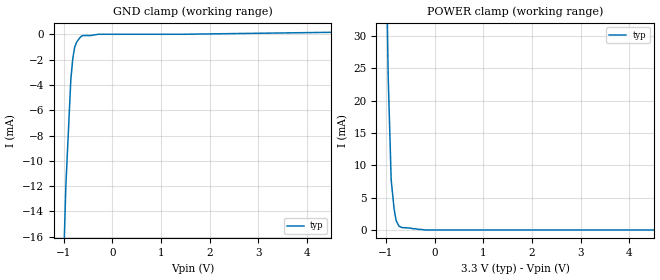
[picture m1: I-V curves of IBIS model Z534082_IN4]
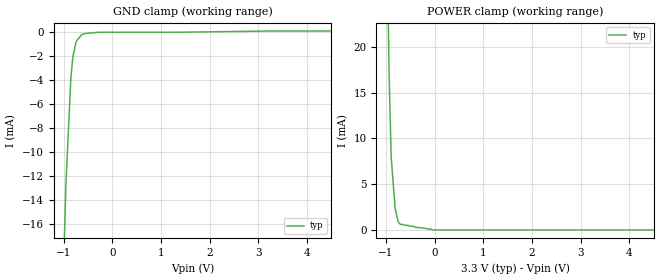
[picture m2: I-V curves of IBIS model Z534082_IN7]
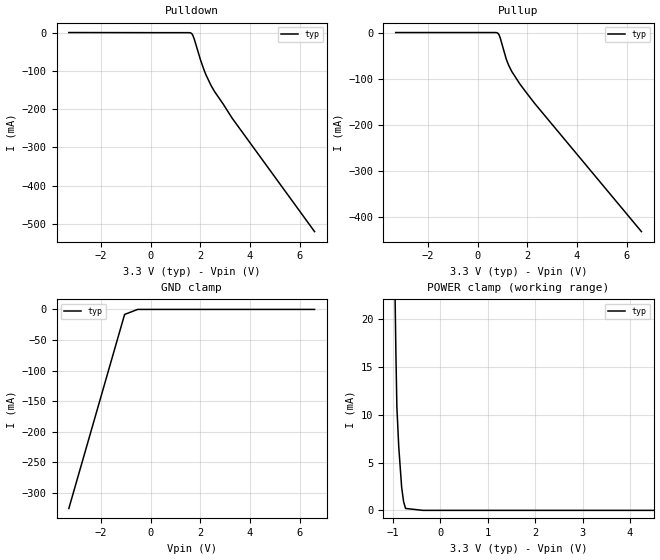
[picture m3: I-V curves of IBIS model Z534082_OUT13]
| YOU ARE ONLY AUTHORIZED TO USE THIS SOFTWARE
| ACCORDING TO LICENSOR'S LICENSE RESTRICTIONS.
[IBIS Ver] 3.1
[File Name] mc100lvel37dw_33.ibs
[File Rev] 1
[Source] Derived from mc100lvel38dw_pecl.ibs Measured and created by
ICX Technology
[Date] 2/18/2004
[Copyright]
| (C) COPYRIGHT 1993-2000
| MENTOR GRAPHICS CORPORATION
| ICX STANDARD LIBRARY, ICX PROJECT MODELING,
| ICX CUSTOM MODELING, ICX VENDOR MODEL
| ALL RIGHTS RESERVED.
| THE FOLLOWING ARE TRADEMARKS OR SERVICE MARKS OF
| MENTOR GRAPHICS CORPORATION:ICX (R), ICX STANDARD
| LIBRARY(R), ICX PROJECT MODELING(R), ICX CUSTOM
| MODELING(R), qualityIBIS(TM), MODELVIEWER(TM),
| AND MODELEDITOR(TM)
| ALL COPIES OF SOFTWARE, INCLUDING BUT NOT LIMITED TO
| ANY MODIFICATIONS, ENHANCEMENTS OR DERIVATIVE WORKS,
| MUST CONTAIN ALL MENTOR GRAPHICS CORPORATION'S
| NOTICES AND LEGENDS, INCLUDING THOSE EMBEDDED IN
| SOFTWARE AND THOSE AFFIXED TO SOFTWARE MEDIUM
| AND CONTAINER, AS RECEIVED FROM MENTOR GRAPHICS
| CORPORATION.
|  ZAP Model Builder 2.7
[Component] MC100LVEL37DW_33
[Manufacturer] OnSemiconductor
[Package]
| variable   typ   min   max
R_pkg  .178ohms NA NA
L_pkg  4.43nH NA NA
C_pkg  .62pF NA NA
[Pin] signal_name  model_name  R_pin  L_pin C_pin
1 VCC POWER .186 5.37n .68p
2 VCC POWER .186 5.37n .68p
3 CLK0 Z534082_IN4 .174 3.96n .59p
4 _CLK0 Z534082_IN4 .17 3.51n .56p
5 CLK_SEL Z534082_IN4 .174 3.96n .59p
6 CLK1 Z534082_IN4 .174 3.96n .59p
7 _CLK1 Z534082_IN4 .17 3.51n .56p
8 MR Z534082_IN7 .174 3.96n .59p
9 VEE POWER .186 5.37n .68p
10 VEE POWER .186 5.37n .68p
11 VCC POWER .186 5.37n .68p
12 _Q3 Z534082_OUT18 .182 4.89n .65p
13 Q3 Z534082_OUT13 .178 4.42n .62p
14 _Q2 Z534082_OUT18 .174 3.96n .59p
15 Q2 Z534082_OUT13 .17 3.51n .56p
16 _Q1 Z534082_OUT18 .17 3.51n .56p
17 Q1 Z534082_OUT13 .174 3.96n .59p
18 _Q0 Z534082_OUT18 .178 4.42n .62p
19 Q0 Z534082_OUT13 .182 4.89n .65p
20 VEE POWER .186 5.37n .68p
| Models and submodels in the file (4): Z534082_IN4 (Input_ECL), Z534082_IN7 (Input_ECL), Z534082_OUT13 (Output_ECL), Z534082_OUT18 (Output_ECL)
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| (C) COPYRIGHT 1993-2000
| MENTOR GRAPHICS CORPORATION
| ICX STANDARD LIBRARY, ICX PROJECT MODELING,
| ICX CUSTOM MODELING, ICX VENDOR MODEL
| ALL RIGHTS RESERVED.
| THE FOLLOWING ARE TRADEMARKS OR SERVICE MARKS OF
| MENTOR GRAPHICS CORPORATION:ICX (R), ICX STANDARD
| LIBRARY(R), ICX PROJECT MODELING(R), ICX CUSTOM
| MODELING(R), qualityIBIS(TM), MODELVIEWER(TM),
| AND MODELEDITOR(TM)
| ALL COPIES OF SOFTWARE, INCLUDING BUT NOT LIMITED TO
| ANY MODIFICATIONS, ENHANCEMENTS OR DERIVATIVE WORKS,
| MUST CONTAIN ALL MENTOR GRAPHICS CORPORATION'S
| NOTICES AND LEGENDS, INCLUDING THOSE EMBEDDED IN
| SOFTWARE AND THOSE AFFIXED TO SOFTWARE MEDIUM
| AND CONTAINER, AS RECEIVED FROM MENTOR GRAPHICS
| CORPORATION.
| Model Application Version 1.89 2/18/99.
[Model] Z534082_IN4
Model_type Input_ECL
Vinl = 2.115V
Vinh = 2.301V
C_comp 2.000pF NA NA
| variable typ   min   max
[Voltage Range] 3.300V NA NA
[GND Clamp Reference] 0.000V NA NA
[POWER Clamp Reference] 3.300V NA NA
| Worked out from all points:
|   GND clamp passes 1 mA (typ) near -0.77 V on its own axis
|   POWER clamp passes 1 mA (typ) near -0.76 V on its own axis
[GND Clamp]
-3.3V     -405.6mA   NA         NA
-1.074V   -27.8mA    NA         NA
-952mV    -11.9mA    NA         NA
-851mV    -3.6mA     NA         NA
-810mV    -1.9mA     NA         NA
-770mV    -1mA       NA         NA
-729mV    -600uA     NA         NA
-648mV    -200uA     NA         NA
-607.5mV  -100uA     NA         NA
-283.5mV  0A         NA         NA
1.449V    0A         NA         NA
6.6V      260.7uA    NA         NA
[POWER Clamp]
-3.3V     728.7mA    NA         NA
-1.037V   62.35mA    NA         NA
-956mV    23.66mA    NA         NA
-895mV    7.761mA    NA         NA
-835mV    3.264mA    NA         NA
-794mV    1.466mA    NA         NA
-733mV    569.2uA    NA         NA
-673mV    372.3uA    NA         NA
-191.3mV  0A         NA         NA
6.6V      0A         NA         NA
| (C) COPYRIGHT 1993-2000
| MENTOR GRAPHICS CORPORATION
| ICX STANDARD LIBRARY, ICX PROJECT MODELING,
| ICX CUSTOM MODELING, ICX VENDOR MODEL
| ALL RIGHTS RESERVED.
| THE FOLLOWING ARE TRADEMARKS OR SERVICE MARKS OF
| MENTOR GRAPHICS CORPORATION:ICX (R), ICX STANDARD
| LIBRARY(R), ICX PROJECT MODELING(R), ICX CUSTOM
| MODELING(R), qualityIBIS(TM), MODELVIEWER(TM),
| AND MODELEDITOR(TM)
| ALL COPIES OF SOFTWARE, INCLUDING BUT NOT LIMITED TO
| ANY MODIFICATIONS, ENHANCEMENTS OR DERIVATIVE WORKS,
| MUST CONTAIN ALL MENTOR GRAPHICS CORPORATION'S
| NOTICES AND LEGENDS, INCLUDING THOSE EMBEDDED IN
| SOFTWARE AND THOSE AFFIXED TO SOFTWARE MEDIUM
| AND CONTAINER, AS RECEIVED FROM MENTOR GRAPHICS
| CORPORATION.
| Model Application Version 1.89 2/18/99.
[Model] Z534082_IN7
Model_type Input_ECL
Vinl = 2.115V
Vinh = 2.301V
C_comp 2.000pF NA NA
| variable typ   min   max
[Voltage Range] 3.300V NA NA
[GND Clamp Reference] 0.000V NA NA
[POWER Clamp Reference] 3.300V NA NA
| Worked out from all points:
|   GND clamp passes 1 mA (typ) near -0.75 V on its own axis
|   POWER clamp passes 1 mA (typ) near -0.76 V on its own axis
[GND Clamp]
-3.3V     -464.7mA   NA         NA
-1.074V   -30.5mA    NA         NA
-952mV    -12.7mA    NA         NA
-851mV    -3.9mA     NA         NA
-810mV    -2.1mA     NA         NA
-749mV    -900uA     NA         NA
-729mV    -700uA     NA         NA
-628mV    -200uA     NA         NA
-547mV    -100uA     NA         NA
-273.5mV  0A         NA         NA
6.6V      100uA      NA         NA
[POWER Clamp]
-3.3V     753.6mA    NA         NA
-1.341V   154.1mA    NA         NA
-936mV    16.7mA     NA         NA
-895mV    8mA        NA         NA
-815mV    2.4mA      NA         NA
-754mV    900uA      NA         NA
-703mV    600uA      NA         NA
-42.5mV   0A         NA         NA
6.6V      0A         NA         NA
| (C) COPYRIGHT 1993-2000
| MENTOR GRAPHICS CORPORATION
| ICX STANDARD LIBRARY, ICX PROJECT MODELING,
| ICX CUSTOM MODELING, ICX VENDOR MODEL
| ALL RIGHTS RESERVED.
| THE FOLLOWING ARE TRADEMARKS OR SERVICE MARKS OF
| MENTOR GRAPHICS CORPORATION:ICX (R), ICX STANDARD
| LIBRARY(R), ICX PROJECT MODELING(R), ICX CUSTOM
| MODELING(R), qualityIBIS(TM), MODELVIEWER(TM),
| AND MODELEDITOR(TM)
| ALL COPIES OF SOFTWARE, INCLUDING BUT NOT LIMITED TO
| ANY MODIFICATIONS, ENHANCEMENTS OR DERIVATIVE WORKS,
| MUST CONTAIN ALL MENTOR GRAPHICS CORPORATION'S
| NOTICES AND LEGENDS, INCLUDING THOSE EMBEDDED IN
| SOFTWARE AND THOSE AFFIXED TO SOFTWARE MEDIUM
| AND CONTAINER, AS RECEIVED FROM MENTOR GRAPHICS
| CORPORATION.
| Model Application Version 1.89 2/18/99.
[Model] Z534082_OUT13
Model_type Output_ECL
Vref=1.300V
Rref=50.00ohms
Cref=0.000F
Vmeas=2.207V
C_comp 2.000pF NA NA
| variable typ   min   max
[Voltage Range] 3.300V NA NA
[POWER Clamp Reference] 3.300V NA NA
[Pullup Reference] 3.300V NA NA
[Pulldown Reference] 3.300V NA NA
[GND Clamp Reference] 0.000V NA NA
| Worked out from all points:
|   POWER clamp passes 1 mA (typ) near -0.78 V on its own axis
[GND Clamp]
-3.3V     -325.7mA   NA         NA
-1.053V   -8.21mA    NA         NA
-526.5mV  0A         NA         NA
6.6V      0A         NA         NA
[Pulldown]
-3.3V     332uA      NA         NA
1.517V    0A         NA         NA
1.659V    -3mA       NA         NA
1.76V     -18.2mA    NA         NA
2.003V    -71mA      NA         NA
2.145V    -97.4mA    NA         NA
2.429V    -138.1mA   NA         NA
2.571V    -154.1mA   NA         NA
3.28V     -223.8mA   NA         NA
6.6V      -520.5mA   NA         NA
[Pullup]
-3.3V     0A         NA         NA
706mV     0A         NA         NA
827mV     -2mA       NA         NA
909mV     -11.3mA    NA         NA
1.152V    -57.3mA    NA         NA
1.253V    -71.2mA    NA         NA
1.375V    -84.2mA    NA         NA
1.699V    -111.1mA   NA         NA
2.307V    -154mA     NA         NA
6.6V      -430.9mA   NA         NA
[POWER Clamp]
-3.3V     813.9mA    NA         NA
-936mV    16.3mA     NA         NA
-916mV    10.8mA     NA         NA
-876mV    6.6mA      NA         NA
-815mV    2.4mA      NA         NA
-774mV    900uA      NA         NA
-733mV    200uA      NA         NA
-366.5mV  0A         NA         NA
6.6V      0A         NA         NA
[Ramp]
| variable typ min max
dV/dt_r 391.0m/494.0p NA NA
dV/dt_f 391.0m/369.0p NA NA
R_load = 50.00Ohms
